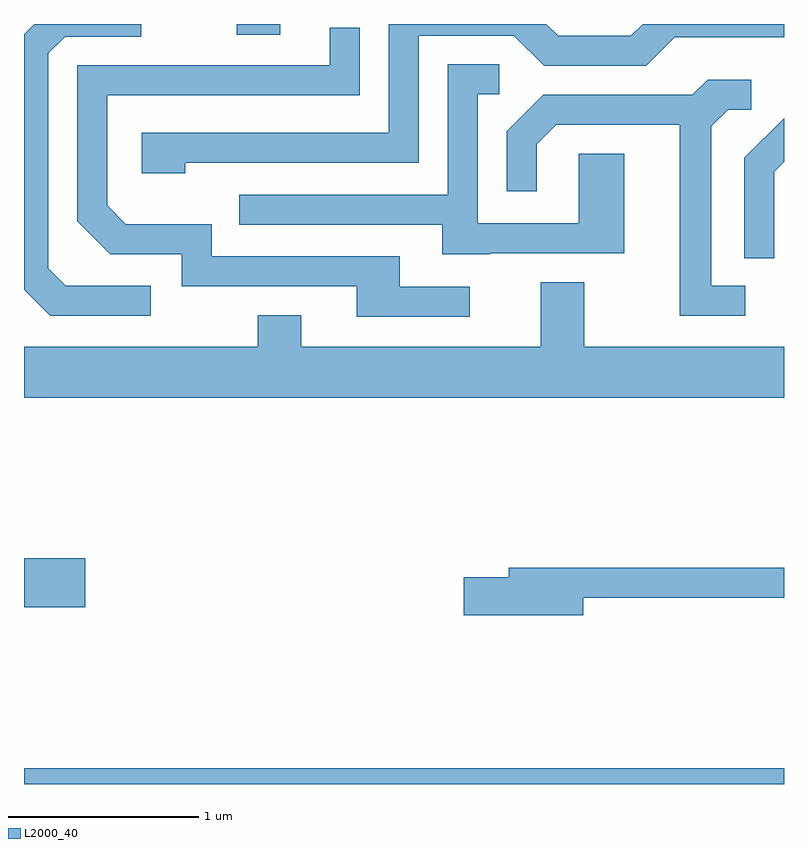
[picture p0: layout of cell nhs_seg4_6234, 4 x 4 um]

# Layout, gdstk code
import gdstk
lib = gdstk.Library(unit=1e-6, precision=1e-09)
def R(c, l, rs):  # rectangles x0, y0, x1, y1
    for r in rs: c.add(gdstk.rectangle(r[:2], r[2:], *l))
def P(c, l, *ps):  # polygons
    for p in ps: c.add(gdstk.Polygon(p, *l))
L2000_40 = (2000, 40)

nhs_seg4_6234 = lib.new_cell('nhs_seg4_6234')
R(nhs_seg4_6234, L2000_40, [(367.611,1345.982,371.611,1346.064), (367.611,1346.911,367.934,1347.169), (368.731,1349.926,368.959,1349.982)])
P(nhs_seg4_6234, L2000_40, [(368.459,1349.251),(369.689,1349.251),(369.689,1349.921),(370.189,1349.921),(370.349,1349.761),(370.887,1349.761),(371.037,1349.911),(371.611,1349.911),(371.611,1349.982),(370.867,1349.982),(370.804,1349.919),(370.422,1349.919),(370.359,1349.982),(369.531,1349.982),(369.531,1349.409),(368.231,1349.409),(368.231,1349.196),(368.459,1349.196)],
  [(368.278,1348.604),(367.832,1348.604),(367.739,1348.697),(367.739,1349.829),(367.827,1349.916),(368.228,1349.916),(368.228,1349.982),(367.666,1349.982),(367.611,1349.927),(367.611,1348.584),(367.749,1348.446),(368.278,1348.446)],
  [(369.958,1348.599),(369.589,1348.599),(369.589,1348.759),(368.599,1348.759),(368.599,1348.929),(368.147,1348.929),(368.049,1349.027),(368.049,1349.606),(369.379,1349.606),(369.379,1349.963),(369.221,1349.963),(369.221,1349.764),(367.891,1349.764),(367.891,1348.944),(368.064,1348.771),(368.441,1348.771),(368.441,1348.601),(369.361,1348.601),(369.361,1348.441),(369.958,1348.441)],
  [(370.065,1348.776),(370.769,1348.776),(370.769,1349.299),(370.531,1349.299),(370.531,1348.934),(369.999,1348.934),(369.999,1349.611),(370.113,1349.611),(370.113,1349.769),(369.841,1349.769),(369.841,1349.084),(368.743,1349.084),(368.743,1348.926),(369.811,1348.926),(369.811,1348.771),(370.065,1348.771)],
  [(371.408,1348.604),(371.229,1348.604),(371.229,1349.444),(371.317,1349.531),(371.438,1349.531),(371.438,1349.689),(371.209,1349.689),(371.129,1349.609),(370.344,1349.609),(370.151,1349.417),(370.151,1349.103),(370.309,1349.103),(370.309,1349.349),(370.412,1349.451),(371.061,1349.451),(371.061,1348.446),(371.408,1348.446)],
  [(371.559,1349.204),(371.611,1349.256),(371.611,1349.487),(371.401,1349.277),(371.401,1348.748),(371.559,1348.748)],
  [(371.611,1348.284),(370.559,1348.284),(370.559,1348.624),(370.331,1348.624),(370.331,1348.284),(369.069,1348.284),(369.069,1348.449),(368.841,1348.449),(368.841,1348.284),(367.611,1348.284),(367.611,1348.016),(371.611,1348.016)],
  [(370.554,1346.961),(371.611,1346.961),(371.611,1347.119),(370.161,1347.119),(370.161,1347.069),(369.926,1347.069),(369.926,1346.871),(370.554,1346.871)])

lib.write_gds('nhs_seg4_6234.gds')
